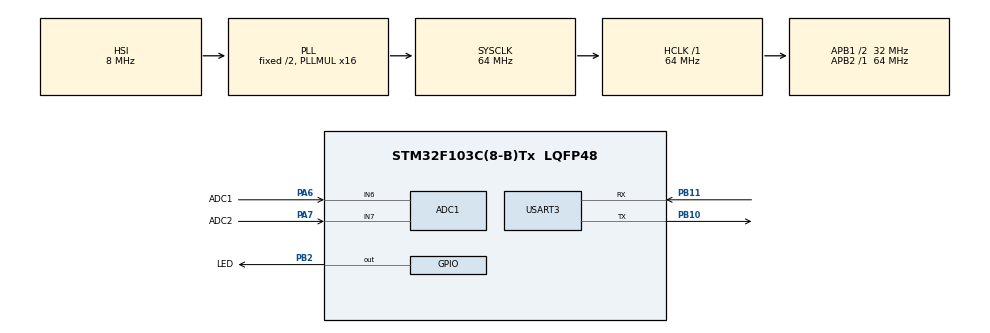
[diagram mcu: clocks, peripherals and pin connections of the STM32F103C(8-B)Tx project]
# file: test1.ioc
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ADC1.Channel-0\#ChannelRegularConversion=ADC_CHANNEL_6
ADC1.Channel-1\#ChannelRegularConversion=ADC_CHANNEL_7
ADC1.NbrOfConversion=2
ADC1.NbrOfConversionFlag=1
ADC1.Rank-0\#ChannelRegularConversion=1
ADC1.Rank-1\#ChannelRegularConversion=2
ADC1.SamplingTime-0\#ChannelRegularConversion=ADC_SAMPLETIME_1CYCLE_5
ADC1.SamplingTime-1\#ChannelRegularConversion=ADC_SAMPLETIME_1CYCLE_5
ADC1.master=1
Dma.ADC1.0.Direction=DMA_PERIPH_TO_MEMORY
Dma.ADC1.0.Instance=DMA1_Channel1
Dma.ADC1.0.MemDataAlignment=DMA_MDATAALIGN_HALFWORD
Dma.ADC1.0.MemInc=DMA_MINC_ENABLE
Dma.ADC1.0.Mode=DMA_NORMAL
Dma.ADC1.0.PeriphDataAlignment=DMA_PDATAALIGN_HALFWORD
Dma.ADC1.0.PeriphInc=DMA_PINC_DISABLE
Dma.ADC1.0.Priority=DMA_PRIORITY_LOW
Dma.Request0=ADC1
Mcu.Family=STM32F1
Mcu.Name=STM32F103C(8-B)Tx
Mcu.Package=LQFP48
NVIC.ADC1_2_IRQn=true\:0\:0\:false\:false\:true\:true\:true\:true
NVIC.DMA1_Channel1_IRQn=true\:0\:0\:false\:false\:true\:false\:true\:true
NVIC.PriorityGroup=NVIC_PRIORITYGROUP_4
PA13.Mode=Serial_Wire
PA13.Signal=SYS_JTMS-SWDIO
PA14.Mode=Serial_Wire
PA14.Signal=SYS_JTCK-SWCLK
PA6.GPIO_Label=ADC1
PA6.Signal=ADCx_IN6
PA7.GPIO_Label=ADC2
PA7.Signal=ADCx_IN7
PB10.Mode=Asynchronous
PB10.Signal=USART3_TX
PB11.Mode=Asynchronous
PB11.Signal=USART3_RX
PB2.GPIO_Label=LED
PB2.Signal=GPIO_Output
ProjectManager.HeapSize=0x200
ProjectManager.StackSize=0x400
ProjectManager.TargetToolchain=CMake
RCC.ADCPresc=RCC_ADCPCLK2_DIV8
RCC.AHBFreq_Value=64000000
RCC.APB1CLKDivider=RCC_HCLK_DIV2
RCC.APB1Freq_Value=32000000
RCC.APB1TimFreq_Value=64000000
RCC.APB2Freq_Value=64000000
RCC.APB2TimFreq_Value=64000000
RCC.HCLKFreq_Value=64000000
RCC.PLLMUL=RCC_PLL_MUL16
RCC.SYSCLKFreq_VALUE=64000000
RCC.SYSCLKSource=RCC_SYSCLKSOURCE_PLLCLK
RCC.USBFreq_Value=64000000
SH.ADCx_IN6.0=ADC1_IN6,IN6
SH.ADCx_IN7.0=ADC1_IN7,IN7
USART3.VirtualMode=VM_ASYNC
board=custom

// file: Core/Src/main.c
/* USER CODE BEGIN Header */
/**
  ******************************************************************************
  * @file           : main.c
  * @brief          : Main program body
  ******************************************************************************
  * @attention
  *
  * Copyright (c) 2025 STMicroelectronics.
  * All rights reserved.
  *
  * This software is licensed under terms that can be found in the LICENSE file
  * in the root directory of this software component.
  * If no LICENSE file comes with this software, it is provided AS-IS.
  *
  ******************************************************************************
  */
/* USER CODE END Header */
#include "main.h"
#include "stm32f1xx_hal.h"
#include "stm32f1xx_hal_gpio.h"
#include "stm32f1xx_hal_uart.h"

/* USER CODE BEGIN Includes */
#include <stdio.h>
#include <string.h>
#include "Kernal.h"
/* USER CODE END Includes */

ADC_HandleTypeDef hadc1;
DMA_HandleTypeDef hdma_adc1;

UART_HandleTypeDef huart3;

void SystemClock_Config(void);
static void MX_GPIO_Init(void);
static void MX_DMA_Init(void);
static void MX_ADC1_Init(void);
static void MX_USART3_UART_Init(void);

/* USER CODE BEGIN 0 */
uint8_t get_adc_flag = 0;

/* USER CODE END 0 */

int main(void)
{

  /* USER CODE BEGIN 1 */
  kernal_boot();
  /* USER CODE END 1 */

  /* MCU Configuration--------------------------------------------------------*/

  /* Reset of all peripherals, Initializes the Flash interface and the Systick. */
  HAL_Init();

  /* Configure the system clock */
  SystemClock_Config();

  /* Initialize all configured peripherals */
  MX_GPIO_Init();
  MX_DMA_Init();
  MX_ADC1_Init();
  MX_USART3_UART_Init();
  /* USER CODE BEGIN 2 */
  // my_main();

  // 先启动一次ADC采样自举
  HAL_UART_Transmit(&huart3, (const uint8_t *)"Hello yang man\r\n", sizeof("Hello yang man\r\n"), 100);
  uint32_t adc_data[2];
  HAL_ADC_Start_DMA(&hadc1, adc_data, 2);

  /* USER CODE END 2 */

  /* Infinite loop */
  /* USER CODE BEGIN WHILE */
  while (1)
  {
    HAL_GPIO_TogglePin(LED_GPIO_Port, LED_Pin);
    HAL_Delay(100);
    if(get_adc_flag == 1)
    {
      get_adc_flag = 0;
      uint8_t msg[128] = {0};
      sprintf((char *)msg, "angle:%d,%d\r\n", (int)((uint16_t)adc_data[1]), (int)(uint16_t)adc_data[1]);//(int)((float)adc_data[1]/4095.0f*3.3f));
      HAL_UART_Transmit(&huart3, msg, strlen((char *)msg), 100);
      HAL_ADC_Start_DMA(&hadc1, adc_data, 2);
    }
    /* USER CODE END WHILE */

  }
}

void SystemClock_Config(void)
{
  RCC_OscInitTypeDef RCC_OscInitStruct = {0};
  RCC_ClkInitTypeDef RCC_ClkInitStruct = {0};
  RCC_PeriphCLKInitTypeDef PeriphClkInit = {0};

  /** Initializes the RCC Oscillators according to the specified parameters
  * in the RCC_OscInitTypeDef structure.
  */
  RCC_OscInitStruct.OscillatorType = RCC_OSCILLATORTYPE_HSI;
  RCC_OscInitStruct.HSIState = RCC_HSI_ON;
  RCC_OscInitStruct.HSICalibrationValue = RCC_HSICALIBRATION_DEFAULT;
  RCC_OscInitStruct.PLL.PLLState = RCC_PLL_ON;
  RCC_OscInitStruct.PLL.PLLSource = RCC_PLLSOURCE_HSI_DIV2;
  RCC_OscInitStruct.PLL.PLLMUL = RCC_PLL_MUL16;
  if (HAL_RCC_OscConfig(&RCC_OscInitStruct) != HAL_OK)
  {
    Error_Handler();
  }

  /** Initializes the CPU, AHB and APB buses clocks
  */
  RCC_ClkInitStruct.ClockType = RCC_CLOCKTYPE_HCLK|RCC_CLOCKTYPE_SYSCLK
                              |RCC_CLOCKTYPE_PCLK1|RCC_CLOCKTYPE_PCLK2;
  RCC_ClkInitStruct.SYSCLKSource = RCC_SYSCLKSOURCE_PLLCLK;
  RCC_ClkInitStruct.AHBCLKDivider = RCC_SYSCLK_DIV1;
  RCC_ClkInitStruct.APB1CLKDivider = RCC_HCLK_DIV2;
  RCC_ClkInitStruct.APB2CLKDivider = RCC_HCLK_DIV1;

  if (HAL_RCC_ClockConfig(&RCC_ClkInitStruct, FLASH_LATENCY_2) != HAL_OK)
  {
    Error_Handler();
  }
  PeriphClkInit.PeriphClockSelection = RCC_PERIPHCLK_ADC;
  PeriphClkInit.AdcClockSelection = RCC_ADCPCLK2_DIV8;
  if (HAL_RCCEx_PeriphCLKConfig(&PeriphClkInit) != HAL_OK)
  {
    Error_Handler();
  }
}

static void MX_ADC1_Init(void)
{

  ADC_ChannelConfTypeDef sConfig = {0};

  /** Common config
  */
  hadc1.Instance = ADC1;
  hadc1.Init.ScanConvMode = ADC_SCAN_ENABLE;
  hadc1.Init.ContinuousConvMode = DISABLE;
  hadc1.Init.DiscontinuousConvMode = DISABLE;
  hadc1.Init.ExternalTrigConv = ADC_SOFTWARE_START;
  hadc1.Init.DataAlign = ADC_DATAALIGN_RIGHT;
  hadc1.Init.NbrOfConversion = 2;
  if (HAL_ADC_Init(&hadc1) != HAL_OK)
  {
    Error_Handler();
  }

  /** Configure Regular Channel
  */
  sConfig.Channel = ADC_CHANNEL_6;
  sConfig.Rank = ADC_REGULAR_RANK_1;
  sConfig.SamplingTime = ADC_SAMPLETIME_1CYCLE_5;
  if (HAL_ADC_ConfigChannel(&hadc1, &sConfig) != HAL_OK)
  {
    Error_Handler();
  }

  /** Configure Regular Channel
  */
  sConfig.Channel = ADC_CHANNEL_7;
  sConfig.Rank = ADC_REGULAR_RANK_2;
  if (HAL_ADC_ConfigChannel(&hadc1, &sConfig) != HAL_OK)
  {
    Error_Handler();
  }

}

static void MX_USART3_UART_Init(void)
{

  huart3.Instance = USART3;
  huart3.Init.BaudRate = 115200;
  huart3.Init.WordLength = UART_WORDLENGTH_8B;
  huart3.Init.StopBits = UART_STOPBITS_1;
  huart3.Init.Parity = UART_PARITY_NONE;
  huart3.Init.Mode = UART_MODE_TX_RX;
  huart3.Init.HwFlowCtl = UART_HWCONTROL_NONE;
  huart3.Init.OverSampling = UART_OVERSAMPLING_16;
  if (HAL_UART_Init(&huart3) != HAL_OK)
  {
    Error_Handler();
  }

}

static void MX_DMA_Init(void)
{

  /* DMA controller clock enable */
  __HAL_RCC_DMA1_CLK_ENABLE();

  /* DMA interrupt init */
  /* DMA1_Channel1_IRQn interrupt configuration */
  HAL_NVIC_SetPriority(DMA1_Channel1_IRQn, 0, 0);
  HAL_NVIC_EnableIRQ(DMA1_Channel1_IRQn);

}

static void MX_GPIO_Init(void)
{
  GPIO_InitTypeDef GPIO_InitStruct = {0};

  /* GPIO Ports Clock Enable */
  __HAL_RCC_GPIOA_CLK_ENABLE();
  __HAL_RCC_GPIOB_CLK_ENABLE();

  /*Configure GPIO pin Output Level */
  HAL_GPIO_WritePin(LED_GPIO_Port, LED_Pin, GPIO_PIN_RESET);

  /*Configure GPIO pin : LED_Pin */
  GPIO_InitStruct.Pin = LED_Pin;
  GPIO_InitStruct.Mode = GPIO_MODE_OUTPUT_PP;
  GPIO_InitStruct.Pull = GPIO_NOPULL;
  GPIO_InitStruct.Speed = GPIO_SPEED_FREQ_LOW;
  HAL_GPIO_Init(LED_GPIO_Port, &GPIO_InitStruct);

}

/* USER CODE BEGIN 4 */

void HAL_ADC_ConvCpltCallback(ADC_HandleTypeDef *hadc)
{
  UNUSED(hadc);
  get_adc_flag = 1;
}

/* USER CODE END 4 */

void Error_Handler(void)
{
  __disable_irq();
  while (1)
  {
  }
}
